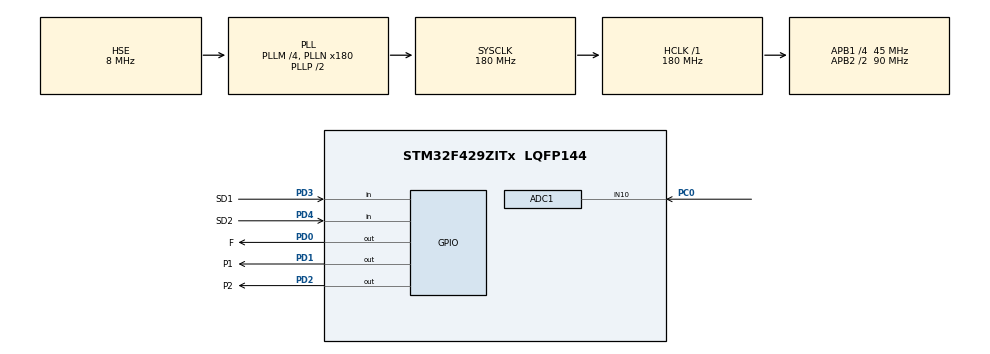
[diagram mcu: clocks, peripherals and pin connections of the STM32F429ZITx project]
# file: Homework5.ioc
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ADC1.Channel-0\#ChannelRegularConversion=ADC_CHANNEL_10
ADC1.NbrOfConversionFlag=1
ADC1.Rank-0\#ChannelRegularConversion=1
ADC1.SamplingTime-0\#ChannelRegularConversion=ADC_SAMPLETIME_3CYCLES
ADC1.master=1
Mcu.Family=STM32F4
Mcu.Name=STM32F429ZITx
Mcu.Package=LQFP144
NVIC.ADC_IRQn=true\:0\:0\:false\:false\:true\:true\:true\:true
NVIC.PriorityGroup=NVIC_PRIORITYGROUP_4
NVIC.TIM4_IRQn=true\:0\:0\:false\:false\:true\:true\:true\:true
NVIC.TIM5_IRQn=true\:0\:0\:false\:false\:true\:true\:true\:true
PC0.Signal=ADCx_IN10
PD0.GPIO_Label=F
PD0.Signal=GPIO_Output
PD1.GPIO_Label=P1
PD1.Signal=GPIO_Output
PD2.GPIO_Label=P2
PD2.Signal=GPIO_Output
PD3.GPIO_Label=SD1
PD3.Signal=GPIO_Input
PD4.GPIO_Label=SD2
PD4.Signal=GPIO_Input
PH0/OSC_IN.Mode=HSE-External-Oscillator
PH0/OSC_IN.Signal=RCC_OSC_IN
PH1/OSC_OUT.Mode=HSE-External-Oscillator
PH1/OSC_OUT.Signal=RCC_OSC_OUT
ProjectManager.HeapSize=0x200
ProjectManager.StackSize=0x400
ProjectManager.TargetToolchain=EWARM V8.50
RCC.48MHZClocksFreq_Value=90000000
RCC.AHBFreq_Value=180000000
RCC.APB1CLKDivider=RCC_HCLK_DIV4
RCC.APB1Freq_Value=45000000
RCC.APB1TimFreq_Value=90000000
RCC.APB2CLKDivider=RCC_HCLK_DIV2
RCC.APB2Freq_Value=90000000
RCC.APB2TimFreq_Value=180000000
RCC.CortexFreq_Value=180000000
RCC.HCLKFreq_Value=180000000
RCC.HSE_VALUE=8000000
RCC.HSI_VALUE=16000000
RCC.LSE_VALUE=32768
RCC.PLLM=4
RCC.PLLN=180
RCC.PLLSourceVirtual=RCC_PLLSOURCE_HSE
RCC.SYSCLKFreq_VALUE=180000000
RCC.SYSCLKSource=RCC_SYSCLKSOURCE_PLLCLK
RCC.VCOOutputFreq_Value=360000000
SH.ADCx_IN10.0=ADC1_IN10,IN10
TIM4.Channel-Output\ Compare1\ No\ Output=TIM_CHANNEL_1
TIM4.Period=200
TIM4.Prescaler=9000
TIM5.Channel-Output\ Compare1\ No\ Output=TIM_CHANNEL_1
TIM5.Prescaler=9000
VP_TIM4_VS_no_output1.Mode=Output Compare1 No Output
VP_TIM5_VS_no_output1.Mode=Output Compare1 No Output
board=custom

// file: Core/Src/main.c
/* USER CODE BEGIN Header */
/**
  ******************************************************************************
  * @file           : main.c
  * @brief          : Main program body
  ******************************************************************************
  * @attention
  *
  * Copyright (c) 2023 STMicroelectronics.
  * All rights reserved.
  *
  * This software is licensed under terms that can be found in the LICENSE file
  * in the root directory of this software component.
  * If no LICENSE file comes with this software, it is provided AS-IS.
  *
  ******************************************************************************
  */
/* USER CODE END Header */
#include "main.h"

ADC_HandleTypeDef hadc1;

TIM_HandleTypeDef htim4;
TIM_HandleTypeDef htim5;

/* USER CODE BEGIN PV */
int SA_val = 0; // a variable to store SA
int OFF = 0; // force off value
int step = 1;
/* USER CODE END PV */

void SystemClock_Config(void);
static void MX_GPIO_Init(void);
static void MX_ADC1_Init(void);
static void MX_TIM4_Init(void);
static void MX_TIM5_Init(void);

int main(void)
{

  /* MCU Configuration--------------------------------------------------------*/

  /* Reset of all peripherals, Initializes the Flash interface and the Systick. */
  HAL_Init();

  /* Configure the system clock */
  SystemClock_Config();

  /* Initialize all configured peripherals */
  MX_GPIO_Init();
  MX_ADC1_Init();
  MX_TIM4_Init();
  MX_TIM5_Init();
  /* USER CODE BEGIN 2 */
  HAL_ADC_Init(&hadc1);
  HAL_ADC_Start(&hadc1);
  HAL_ADC_Start_IT(&hadc1);  // start the ADC for SA

  // both have 1 tick = 0.1ms
  TIM5 -> ARR = 200000; //set timer 5 to trigger at 20s
  HAL_TIM_OC_Start_IT(&htim4, TIM_CHANNEL_1); // start the timer for the periodic SA reading
  HAL_TIM_OC_Start_IT(&htim5, TIM_CHANNEL_1); // start the timer for the long waits

  HAL_GPIO_WritePin(GPIOD, GPIO_PIN_0, GPIO_PIN_RESET); // F
  HAL_GPIO_WritePin(GPIOD, GPIO_PIN_1, GPIO_PIN_RESET); // P1
  HAL_GPIO_WritePin(GPIOD, GPIO_PIN_2, GPIO_PIN_RESET); // P2
  // start with F, P1, P2 off
  HAL_Delay(500); // delay for showing it in the video
  step ++; // move to step 2

  /* USER CODE END 2 */

  /* Infinite loop */
  /* USER CODE BEGIN WHILE */
  while (1)
  {if (step == 2){ // if on step 2
      HAL_GPIO_WritePin(GPIOD, GPIO_PIN_1, GPIO_PIN_SET); // Turn P1 on
      if ((OFF == 1) || (HAL_GPIO_ReadPin(GPIOD, GPIO_PIN_3)==1)){
        // if the sensor reading is full or the time limit is up, stop the pump
        HAL_GPIO_WritePin(GPIOD, GPIO_PIN_1, GPIO_PIN_RESET); // Turn P1 on
        TIM5 -> ARR = 400000; // set timer 5 to interrupt after 40s
        step++; //move to step 3
        OFF = 0; // reset the OFF signal
      }
  }
  else if (step == 3){ // if on step 3
    HAL_GPIO_WritePin(GPIOD, GPIO_PIN_0, GPIO_PIN_SET); // Turn F on
    if (SA_val >= 3400 || OFF == 1){
       // if the sensor reading is too high or the time limit is up, stop the pump
      HAL_GPIO_WritePin(GPIOD, GPIO_PIN_0, GPIO_PIN_RESET); // Turn F off
      TIM5 -> ARR = 300000; //set timer 5 to interrupt after 30s
      step++; // move to step 4
      OFF = 0; //reset the off signal
    }
  }
  else if (step == 4){
    HAL_GPIO_WritePin(GPIOD, GPIO_PIN_2, GPIO_PIN_SET); // Turn P2 on
      if ((OFF == 1) || (HAL_GPIO_ReadPin(GPIOD, GPIO_PIN_4)==1)){
        // if the sensor reading is empty or the time limit is up, stop the pump
        HAL_GPIO_WritePin(GPIOD, GPIO_PIN_2, GPIO_PIN_RESET); // Turn P1 on
        TIM5 -> ARR = 500000; // set timer 5 to interrupt after 50s
        step++; //move to step 5
        OFF = 0; // reset the OFF signal
      }
  }
  else if (step == 5){
    if (OFF == 1){
      step = 2; // go back to step 2
      TIM5 -> ARR = 200000; //reset timer 5 to interrupt after 20s
      OFF = 0; // reset the OFF signal;
    }
    else {
      step = 2; // go back to step 2 if got here on accident
      OFF = 0; // reset off
      TIM5 -> ARR = 200000; //reset timer 5 to interrupt after 20s
    }
  }
    /* USER CODE END WHILE */

  }
}

void SystemClock_Config(void)
{
  RCC_OscInitTypeDef RCC_OscInitStruct = {0};
  RCC_ClkInitTypeDef RCC_ClkInitStruct = {0};

  /** Configure the main internal regulator output voltage
  */
  __HAL_RCC_PWR_CLK_ENABLE();
  __HAL_PWR_VOLTAGESCALING_CONFIG(PWR_REGULATOR_VOLTAGE_SCALE1);

  /** Initializes the RCC Oscillators according to the specified parameters
  * in the RCC_OscInitTypeDef structure.
  */
  RCC_OscInitStruct.OscillatorType = RCC_OSCILLATORTYPE_HSE;
  RCC_OscInitStruct.HSEState = RCC_HSE_ON;
  RCC_OscInitStruct.PLL.PLLState = RCC_PLL_ON;
  RCC_OscInitStruct.PLL.PLLSource = RCC_PLLSOURCE_HSE;
  RCC_OscInitStruct.PLL.PLLM = 4;
  RCC_OscInitStruct.PLL.PLLN = 180;
  RCC_OscInitStruct.PLL.PLLP = RCC_PLLP_DIV2;
  RCC_OscInitStruct.PLL.PLLQ = 4;
  if (HAL_RCC_OscConfig(&RCC_OscInitStruct) != HAL_OK)
  {
    Error_Handler();
  }

  /** Activate the Over-Drive mode
  */
  if (HAL_PWREx_EnableOverDrive() != HAL_OK)
  {
    Error_Handler();
  }

  /** Initializes the CPU, AHB and APB buses clocks
  */
  RCC_ClkInitStruct.ClockType = RCC_CLOCKTYPE_HCLK|RCC_CLOCKTYPE_SYSCLK
                              |RCC_CLOCKTYPE_PCLK1|RCC_CLOCKTYPE_PCLK2;
  RCC_ClkInitStruct.SYSCLKSource = RCC_SYSCLKSOURCE_PLLCLK;
  RCC_ClkInitStruct.AHBCLKDivider = RCC_SYSCLK_DIV1;
  RCC_ClkInitStruct.APB1CLKDivider = RCC_HCLK_DIV4;
  RCC_ClkInitStruct.APB2CLKDivider = RCC_HCLK_DIV2;

  if (HAL_RCC_ClockConfig(&RCC_ClkInitStruct, FLASH_LATENCY_5) != HAL_OK)
  {
    Error_Handler();
  }
}

static void MX_ADC1_Init(void)
{

  ADC_ChannelConfTypeDef sConfig = {0};

  /** Configure the global features of the ADC (Clock, Resolution, Data Alignment and number of conversion)
  */
  hadc1.Instance = ADC1;
  hadc1.Init.ClockPrescaler = ADC_CLOCK_SYNC_PCLK_DIV4;
  hadc1.Init.Resolution = ADC_RESOLUTION_12B;
  hadc1.Init.ScanConvMode = DISABLE;
  hadc1.Init.ContinuousConvMode = DISABLE;
  hadc1.Init.DiscontinuousConvMode = DISABLE;
  hadc1.Init.ExternalTrigConvEdge = ADC_EXTERNALTRIGCONVEDGE_NONE;
  hadc1.Init.ExternalTrigConv = ADC_SOFTWARE_START;
  hadc1.Init.DataAlign = ADC_DATAALIGN_RIGHT;
  hadc1.Init.NbrOfConversion = 1;
  hadc1.Init.DMAContinuousRequests = DISABLE;
  hadc1.Init.EOCSelection = ADC_EOC_SINGLE_CONV;
  if (HAL_ADC_Init(&hadc1) != HAL_OK)
  {
    Error_Handler();
  }

  /** Configure for the selected ADC regular channel its corresponding rank in the sequencer and its sample time.
  */
  sConfig.Channel = ADC_CHANNEL_10;
  sConfig.Rank = 1;
  sConfig.SamplingTime = ADC_SAMPLETIME_3CYCLES;
  if (HAL_ADC_ConfigChannel(&hadc1, &sConfig) != HAL_OK)
  {
    Error_Handler();
  }

}

static void MX_TIM4_Init(void)
{

  TIM_MasterConfigTypeDef sMasterConfig = {0};
  TIM_OC_InitTypeDef sConfigOC = {0};

  htim4.Instance = TIM4;
  htim4.Init.Prescaler = 9000;
  htim4.Init.CounterMode = TIM_COUNTERMODE_UP;
  htim4.Init.Period = 500;
  htim4.Init.ClockDivision = TIM_CLOCKDIVISION_DIV1;
  htim4.Init.AutoReloadPreload = TIM_AUTORELOAD_PRELOAD_DISABLE;
  if (HAL_TIM_OC_Init(&htim4) != HAL_OK)
  {
    Error_Handler();
  }
  sMasterConfig.MasterOutputTrigger = TIM_TRGO_RESET;
  sMasterConfig.MasterSlaveMode = TIM_MASTERSLAVEMODE_DISABLE;
  if (HAL_TIMEx_MasterConfigSynchronization(&htim4, &sMasterConfig) != HAL_OK)
  {
    Error_Handler();
  }
  sConfigOC.OCMode = TIM_OCMODE_TIMING;
  sConfigOC.Pulse = 0;
  sConfigOC.OCPolarity = TIM_OCPOLARITY_HIGH;
  sConfigOC.OCFastMode = TIM_OCFAST_DISABLE;
  if (HAL_TIM_OC_ConfigChannel(&htim4, &sConfigOC, TIM_CHANNEL_1) != HAL_OK)
  {
    Error_Handler();
  }

}

static void MX_TIM5_Init(void)
{

  TIM_MasterConfigTypeDef sMasterConfig = {0};
  TIM_OC_InitTypeDef sConfigOC = {0};

  htim5.Instance = TIM5;
  htim5.Init.Prescaler = 9000;
  htim5.Init.CounterMode = TIM_COUNTERMODE_UP;
  htim5.Init.Period = 4294967295;
  htim5.Init.ClockDivision = TIM_CLOCKDIVISION_DIV1;
  htim5.Init.AutoReloadPreload = TIM_AUTORELOAD_PRELOAD_DISABLE;
  if (HAL_TIM_OC_Init(&htim5) != HAL_OK)
  {
    Error_Handler();
  }
  sMasterConfig.MasterOutputTrigger = TIM_TRGO_RESET;
  sMasterConfig.MasterSlaveMode = TIM_MASTERSLAVEMODE_DISABLE;
  if (HAL_TIMEx_MasterConfigSynchronization(&htim5, &sMasterConfig) != HAL_OK)
  {
    Error_Handler();
  }
  sConfigOC.OCMode = TIM_OCMODE_TIMING;
  sConfigOC.Pulse = 0;
  sConfigOC.OCPolarity = TIM_OCPOLARITY_HIGH;
  sConfigOC.OCFastMode = TIM_OCFAST_DISABLE;
  if (HAL_TIM_OC_ConfigChannel(&htim5, &sConfigOC, TIM_CHANNEL_1) != HAL_OK)
  {
    Error_Handler();
  }

}

static void MX_GPIO_Init(void)
{
  GPIO_InitTypeDef GPIO_InitStruct = {0};

  /* GPIO Ports Clock Enable */
  __HAL_RCC_GPIOH_CLK_ENABLE();
  __HAL_RCC_GPIOC_CLK_ENABLE();
  __HAL_RCC_GPIOD_CLK_ENABLE();

  /*Configure GPIO pin Output Level */
  HAL_GPIO_WritePin(GPIOD, F_Pin|P1_Pin|P2_Pin, GPIO_PIN_RESET);

  /*Configure GPIO pins : F_Pin P1_Pin P2_Pin */
  GPIO_InitStruct.Pin = F_Pin|P1_Pin|P2_Pin;
  GPIO_InitStruct.Mode = GPIO_MODE_OUTPUT_PP;
  GPIO_InitStruct.Pull = GPIO_NOPULL;
  GPIO_InitStruct.Speed = GPIO_SPEED_FREQ_LOW;
  HAL_GPIO_Init(GPIOD, &GPIO_InitStruct);

  /*Configure GPIO pins : SD1_Pin SD2_Pin */
  GPIO_InitStruct.Pin = SD1_Pin|SD2_Pin;
  GPIO_InitStruct.Mode = GPIO_MODE_INPUT;
  GPIO_InitStruct.Pull = GPIO_NOPULL;
  HAL_GPIO_Init(GPIOD, &GPIO_InitStruct);

}

void Error_Handler(void)
{
  __disable_irq();
  while (1)
  {
  }
}
